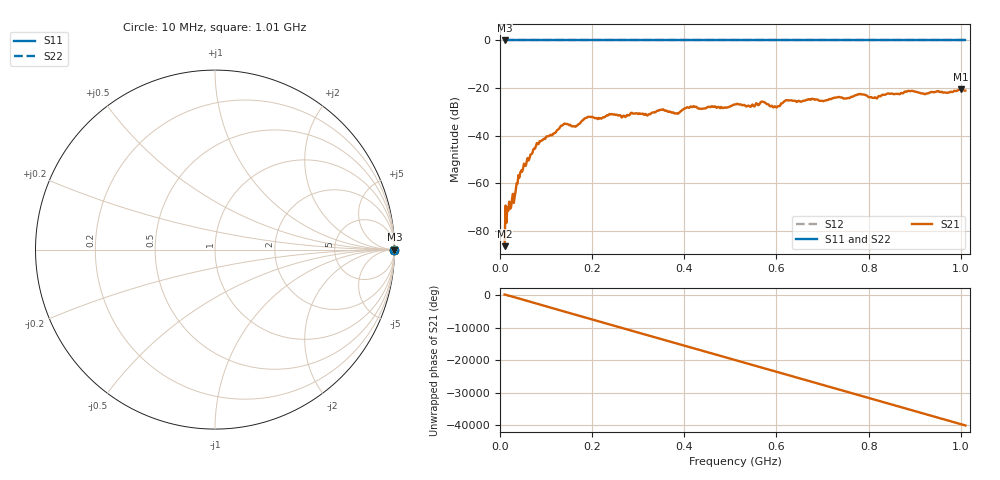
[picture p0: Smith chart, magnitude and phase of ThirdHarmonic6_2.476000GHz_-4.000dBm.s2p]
! 8/17/2025 4:35:11 AM
! C:\ANRITSUVNA\TEMP\TEMP.S2P
! CHANNEL.1
! TR.MEASUREMENT
! RAW.DATA
! RF.CORRECTION.OFF
! AVERAGING.OFF
! IF.BANDWIDTH: 5KHZ
! SWEEPTYPE:  FREQ.SWEEP(Linear)
! Reference Plane Port Info
! PORT:  PORT1  PORT2
! DISTANCE:  0  m  0  m
! TIME:  0  s  0  s
! PHASE.OFFSET:  0  deg.  0  deg.
! LOSS:  0  dB  0  dB
! REF.LOSS:  0  dB  0  dB
! REF.FREQ:  0  Hz  0  Hz
! Power Info
! POWER:  -20  dBm  -20  dBm
! EFF.POWER:  -20  dBm  -20  dBm
! SOURCE.ATTEN:  0  dB  0  dB
! TEST.ATTEN:  0  dB  0  dB
# GHZ S RI R 50.0
! FREQ.GHZ  S11RE  S11IM  S21RE  S21IM  S12RE  S12IM  S22RE  S22IM
!; PortSelection: Port_12
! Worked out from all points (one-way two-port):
!   501 points, 10 MHz to 1.01 GHz, reference 50 ohm
!   highest |S21| = -20.48 dB at 1 GHz (marker M1); lowest = -86.4 dB at 10 MHz (marker M2)
!   lowest |S11| = 0.0 dB at 10 MHz (marker M3)
!   |S11| at or under -10 dB: nowhere
!   |S22| runs from 0.0 to 0.0 dB; largest |S21 - S12| = 1.1
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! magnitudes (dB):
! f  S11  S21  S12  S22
! 10 MHz  0.0  -86.4  0.0  0.0
! 16 MHz  0.0  -70.0  0.0  0.0
! 28 MHz  0.0  -64.4  0.0  0.0
! 44 MHz  0.0  -55.5  0.0  0.0
! 76 MHz  0.0  -45.5  0.0  0.0
! 136 MHz  0.0  -35.6  0.0  0.0
! 162 MHz  0.0  -36.1  0.0  0.0
! 178 MHz  0.0  -33.7  0.0  0.0
! 194 MHz  0.0  -32.1  0.0  0.0
! 344 MHz  0.0  -29.5  0.0  0.0
! 384 MHz  0.0  -30.6  0.0  0.0
! 416 MHz  0.0  -28.0  0.0  0.0
! 510 MHz  0.0  -26.8  0.0  0.0
! 570 MHz  0.0  -25.7  0.0  0.0
! 596 MHz  0.0  -27.6  0.0  0.0
! 622 MHz  0.0  -25.1  0.0  0.0
! 678 MHz  0.0  -24.5  0.0  0.0
! 782 MHz  0.0  -22.4  0.0  0.0
! 814 MHz  0.0  -23.9  0.0  0.0
! 844 MHz  0.0  -22.3  0.0  0.0
! 1 GHz  0.0  -20.5  0.0  0.0
! 1.01 GHz  0.0  -21.1  0.0  0.0
